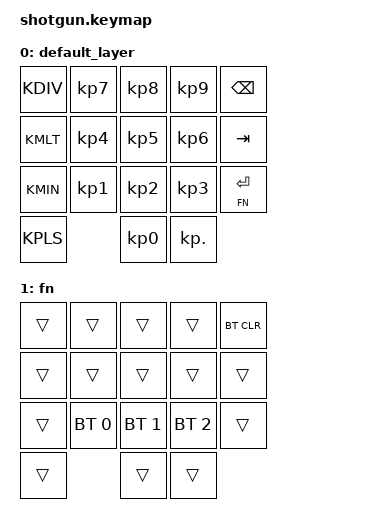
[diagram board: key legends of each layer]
/*
 * Copyright (c) 2022 The ZMK Contributors
 *
 * SPDX-License-Identifier: MIT
 */

#include <behaviors.dtsi>
#include <dt-bindings/zmk/keys.h>
#include <dt-bindings/zmk/bt.h>

#define DEFAULT 0
#define FN 1

#define FN_ENTER &lt FN ENTER

/ {
    keymap {
        compatible = "zmk,keymap";

        default_layer {
            bindings = <
                &kp KDIV  &kp KP_N7  &kp KP_N8  &kp KP_N9  &kp BKSP
                &kp KMLT  &kp KP_N4  &kp KP_N5  &kp KP_N6  &kp TAB
                &kp KMIN  &kp KP_N1  &kp KP_N2  &kp KP_N3  FN_ENTER
                &kp KPLS        &kp KP_N0       &kp KP_DOT 
            >;
        };

        fn {
            bindings = <
                &trans &trans &trans &trans &bt BT_CLR
                &trans &trans &trans &trans &trans
                &trans &bt BT_SEL 0 &bt BT_SEL 1 &bt BT_SEL 2 &trans
                &trans &trans &trans
            >;
        };
    };
};
